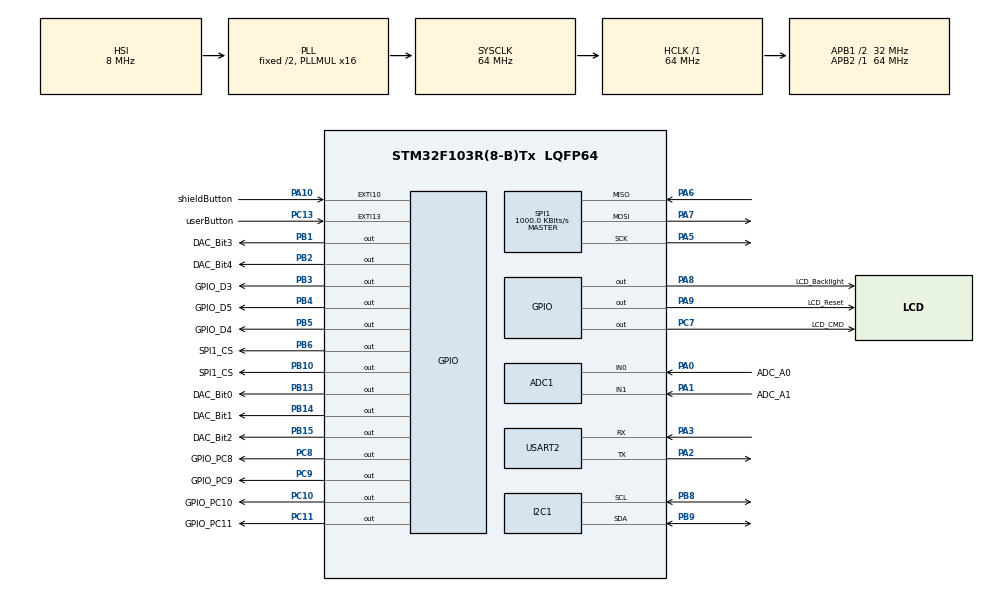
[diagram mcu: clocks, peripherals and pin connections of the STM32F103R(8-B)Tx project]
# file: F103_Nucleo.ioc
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ADC1.Channel-0\#ChannelRegularConversion=ADC_CHANNEL_0
ADC1.Channel-1\#ChannelRegularConversion=ADC_CHANNEL_1
ADC1.ContinuousConvMode=ENABLE
ADC1.NbrOfConversion=2
ADC1.NbrOfConversionFlag=1
ADC1.Rank-0\#ChannelRegularConversion=1
ADC1.Rank-1\#ChannelRegularConversion=2
ADC1.SamplingTime-0\#ChannelRegularConversion=ADC_SAMPLETIME_239CYCLES_5
ADC1.SamplingTime-1\#ChannelRegularConversion=ADC_SAMPLETIME_239CYCLES_5
ADC1.master=1
Dma.ADC1.1.Direction=DMA_PERIPH_TO_MEMORY
Dma.ADC1.1.Instance=DMA1_Channel1
Dma.ADC1.1.MemDataAlignment=DMA_MDATAALIGN_WORD
Dma.ADC1.1.MemInc=DMA_MINC_ENABLE
Dma.ADC1.1.Mode=DMA_CIRCULAR
Dma.ADC1.1.PeriphDataAlignment=DMA_PDATAALIGN_WORD
Dma.ADC1.1.PeriphInc=DMA_PINC_DISABLE
Dma.ADC1.1.Priority=DMA_PRIORITY_LOW
Dma.Request0=USART2_RX
Dma.Request1=ADC1
Dma.USART2_RX.0.Direction=DMA_PERIPH_TO_MEMORY
Dma.USART2_RX.0.Instance=DMA1_Channel6
Dma.USART2_RX.0.MemDataAlignment=DMA_MDATAALIGN_BYTE
Dma.USART2_RX.0.MemInc=DMA_MINC_ENABLE
Dma.USART2_RX.0.Mode=DMA_CIRCULAR
Dma.USART2_RX.0.PeriphDataAlignment=DMA_PDATAALIGN_BYTE
Dma.USART2_RX.0.PeriphInc=DMA_PINC_DISABLE
Dma.USART2_RX.0.Priority=DMA_PRIORITY_HIGH
Mcu.Family=STM32F1
Mcu.Name=STM32F103R(8-B)Tx
Mcu.Package=LQFP64
NVIC.DMA1_Channel1_IRQn=true\:0\:0\:false\:false\:true\:false
NVIC.DMA1_Channel6_IRQn=true\:0\:0\:false\:false\:true\:false
NVIC.EXTI15_10_IRQn=true\:0\:0\:false\:false\:true\:true
NVIC.PriorityGroup=NVIC_PRIORITYGROUP_4
NVIC.TIM1_UP_IRQn=true\:0\:0\:false\:false\:true\:false
NVIC.TIM2_IRQn=true\:0\:0\:false\:false\:true\:true
NVIC.TIM3_IRQn=true\:0\:0\:false\:false\:true\:true
NVIC.TimeBase=TIM1_UP_IRQn
NVIC.TimeBaseIP=TIM1
NVIC.USART2_IRQn=true\:0\:0\:false\:false\:true\:true
PA0-WKUP.GPIO_Label=ADC_A0
PA0-WKUP.Signal=ADCx_IN0
PA1.GPIO_Label=ADC_A1
PA1.Signal=ADCx_IN1
PA10.GPIO_Label=shieldButton
PA10.GPIO_ModeDefaultEXTI=GPIO_MODE_IT_FALLING
PA10.GPIO_PuPd=GPIO_PULLUP
PA10.Signal=GPXTI10
PA13.Mode=Serial_Wire
PA13.Signal=SYS_JTMS-SWDIO
PA14.Mode=Serial_Wire
PA14.Signal=SYS_JTCK-SWCLK
PA2.Mode=Asynchronous
PA2.Signal=USART2_TX
PA3.Mode=Asynchronous
PA3.Signal=USART2_RX
PA5.Mode=Full_Duplex_Master
PA5.Signal=SPI1_SCK
PA6.Mode=Full_Duplex_Master
PA6.Signal=SPI1_MISO
PA7.Mode=Full_Duplex_Master
PA7.Signal=SPI1_MOSI
PA8.GPIO_Label=LCD_Backlight
PA8.Signal=GPIO_Output
PA9.GPIO_Label=LCD_Reset
PA9.Signal=GPIO_Output
PB1.GPIO_Label=DAC_Bit3
PB1.Signal=GPIO_Output
PB10.GPIO_Label=SPI1_CS
PB10.Signal=GPIO_Output
PB13.GPIO_Label=DAC_Bit0
PB13.Signal=GPIO_Output
PB14.GPIO_Label=DAC_Bit1
PB14.Signal=GPIO_Output
PB15.GPIO_Label=DAC_Bit2
PB15.Signal=GPIO_Output
PB2.GPIO_Label=DAC_Bit4
PB2.Signal=GPIO_Output
PB3.GPIO_Label=GPIO_D3
PB3.Signal=GPIO_Output
PB4.GPIO_Label=GPIO_D5
PB4.Signal=GPIO_Output
PB5.GPIO_Label=GPIO_D4
PB5.Signal=GPIO_Output
PB6.GPIO_Label=SPI1_CS
PB6.Signal=GPIO_Output
PB8.Mode=I2C
PB8.Signal=I2C1_SCL
PB9.Mode=I2C
PB9.Signal=I2C1_SDA
PC10.GPIO_Label=GPIO_PC10
PC10.Signal=GPIO_Output
PC11.GPIO_Label=GPIO_PC11
PC11.Signal=GPIO_Output
PC13-TAMPER-RTC.GPIO_Label=userButton
PC13-TAMPER-RTC.GPIO_ModeDefaultEXTI=GPIO_MODE_IT_FALLING
PC13-TAMPER-RTC.GPIO_PuPd=GPIO_PULLUP
PC13-TAMPER-RTC.Signal=GPXTI13
PC7.GPIO_Label=LCD_CMD
PC7.Signal=GPIO_Output
PC8.GPIO_Label=GPIO_PC8
PC8.Signal=GPIO_Output
PC9.GPIO_Label=GPIO_PC9
PC9.Signal=GPIO_Output
ProjectManager.HeapSize=0x200
ProjectManager.StackSize=0x400
ProjectManager.TargetToolchain=TrueSTUDIO
RCC.ADCPresc=RCC_ADCPCLK2_DIV8
RCC.AHBFreq_Value=64000000
RCC.APB1CLKDivider=RCC_HCLK_DIV2
RCC.APB1Freq_Value=32000000
RCC.APB1TimFreq_Value=64000000
RCC.APB2Freq_Value=64000000
RCC.APB2TimFreq_Value=64000000
RCC.HCLKFreq_Value=64000000
RCC.PLLMUL=RCC_PLL_MUL16
RCC.SYSCLKFreq_VALUE=64000000
RCC.SYSCLKSource=RCC_SYSCLKSOURCE_PLLCLK
RCC.USBFreq_Value=64000000
SH.ADCx_IN0.0=ADC1_IN0,IN0
SH.ADCx_IN1.0=ADC1_IN1,IN1
SPI1.BaudRatePrescaler=SPI_BAUDRATEPRESCALER_64
SPI1.CLKPhase=SPI_PHASE_2EDGE
SPI1.CLKPolarity=SPI_POLARITY_HIGH
SPI1.CalculateBaudRate=1000.0 KBits/s
SPI1.Direction=SPI_DIRECTION_2LINES
SPI1.Mode=SPI_MODE_MASTER
SPI1.VirtualType=VM_MASTER
TIM2.CounterMode=TIM_COUNTERMODE_DOWN
TIM2.Period=4999
TIM2.Prescaler=63
TIM3.CounterMode=TIM_COUNTERMODE_DOWN
TIM3.Period=360
TIM3.Prescaler=15
USART2.VirtualMode=VM_ASYNC
VP_SYS_VS_tim1.Mode=TIM1
VP_TIM2_VS_ClockSourceINT.Mode=Internal
VP_TIM3_VS_ClockSourceINT.Mode=Internal
board=F103_Nucleo

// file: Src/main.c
/**
  ******************************************************************************
  * File Name          : main.c
  * Description        : Main program body
  ******************************************************************************
  ** This notice applies to any and all portions of this file
  * that are not between comment pairs USER CODE BEGIN and
  * USER CODE END. Other portions of this file, whether
  * inserted by the user or by software development tools
  * are owned by their respective copyright owners.
  *
  * COPYRIGHT(c) 2018 STMicroelectronics
  *
  * Redistribution and use in source and binary forms, with or without modification,
  * are permitted provided that the following conditions are met:
  *   1. Redistributions of source code must retain the above copyright notice,
  *      this list of conditions and the following disclaimer.
  *   2. Redistributions in binary form must reproduce the above copyright notice,
  *      this list of conditions and the following disclaimer in the documentation
  *      and/or other materials provided with the distribution.
  *   3. Neither the name of STMicroelectronics nor the names of its contributors
  *      may be used to endorse or promote products derived from this software
  *      without specific prior written permission.
  *
  * THIS SOFTWARE IS PROVIDED BY THE COPYRIGHT HOLDERS AND CONTRIBUTORS "AS IS"
  * AND ANY EXPRESS OR IMPLIED WARRANTIES, INCLUDING, BUT NOT LIMITED TO, THE
  * IMPLIED WARRANTIES OF MERCHANTABILITY AND FITNESS FOR A PARTICULAR PURPOSE ARE
  * DISCLAIMED. IN NO EVENT SHALL THE COPYRIGHT HOLDER OR CONTRIBUTORS BE LIABLE
  * FOR ANY DIRECT, INDIRECT, INCIDENTAL, SPECIAL, EXEMPLARY, OR CONSEQUENTIAL
  * DAMAGES (INCLUDING, BUT NOT LIMITED TO, PROCUREMENT OF SUBSTITUTE GOODS OR
  * SERVICES; LOSS OF USE, DATA, OR PROFITS; OR BUSINESS INTERRUPTION) HOWEVER
  * CAUSED AND ON ANY THEORY OF LIABILITY, WHETHER IN CONTRACT, STRICT LIABILITY,
  * OR TORT (INCLUDING NEGLIGENCE OR OTHERWISE) ARISING IN ANY WAY OUT OF THE USE
  * OF THIS SOFTWARE, EVEN IF ADVISED OF THE POSSIBILITY OF SUCH DAMAGE.
  *
  ******************************************************************************
  */
#include "main.h"
#include "stm32f1xx_hal.h"
#include "adc.h"
#include "dma.h"
#include "i2c.h"
#include "spi.h"
#include "tim.h"
#include "usart.h"
#include "gpio.h"

/* USER CODE BEGIN Includes */

#include "lcd_12864_dfrobot.h"
#include "sprite.h"
#include "Sound.h"
#include "joystick.h"
#include "bitmap.h"

#include "eeprom.h"
#include "score.h"

/*
Space Invaders!!!!
6/27/18
This version of SpaceInvaders is built on the STM32F103 Nucleo board
and the 128x64 LCD Shield from DFRobot.  The sound is generated using a
simple binary weighted 5-bit DAC and an 11khz timer.

The following main.c program is largly auto generated using the
STMCube tool.  F103_Nucleo project folder for STCube project
pinouts.

*/

/* USER CODE END Includes */

/* USER CODE BEGIN PV */
/* Private variables ---------------------------------------------------------*/

/* USER CODE END PV */

void SystemClock_Config(void);

/* USER CODE BEGIN PFP */
/* Private function prototypes -----------------------------------------------*/

/* USER CODE END PFP */

/* USER CODE BEGIN 0 */

uint32_t gCounter = 0x00;

/* USER CODE END 0 */

int main(void)
{

	/* MCU Configuration----------------------------------------------------------*/

	/* Reset of all peripherals, Initializes the Flash interface and the Systick. */
	HAL_Init();

	/* Configure the system clock */
	SystemClock_Config();

	/* Initialize all configured peripherals */
	MX_GPIO_Init();
	MX_DMA_Init();
	MX_ADC1_Init();
	MX_SPI1_Init();
	MX_TIM2_Init();
	MX_TIM3_Init();
	MX_USART2_UART_Init();
	MX_I2C1_Init();

	/* USER CODE BEGIN 2 */

	/////////////////////////////////////////////////////////
	/////////////////////////////////////////////////////////
	LCD_Config();					//config 128x64 display
	Joystick_Config();				//DMA stream for ADC - A1
	Sound_Init();					//timers and sound
	Sprite_Init();					//game init
	LCD_BacklightOn();				//backlight

	//wait a bit
	HAL_Delay(100);
	EEPROM_init();					//perform simple write/readback

	/////////////////////////////////////////////////
	//Clear high score. comment out if not needed
//	int result = Score_Init();
//	if (result < 0)
//		while (1){};
	//////////////////////////////////////////////////

	Sprite_SetGameOverFlag();		//start with game over

	HAL_Delay(500);

	/* USER CODE END 2 */

	/* Infinite loop */
	while (1)
	{

		/* USER CODE BEGIN 3 */

		///////////////////////////////////////////////////
		//Game Over??
        if (Sprite_GetGameOverFlag() == 1)
        {
	        Sound_Play_GameOver();

			//evaluate the high score and current score
			if (Sprite_GetGameScore() > Score_GetHighScore())
			{
				while(Sprite_GetGameOverFlag() == 1)
				{
					Score_DisplayNewHighScore(Sprite_GetGameScore(), Sprite_GetGameLevel());
					HAL_Delay(1000);
					LCD_Clear(0x00);
					HAL_Delay(1000);
				}

				//update the high score and level here
				Score_SetHighScore(Sprite_GetGameScore());
				Score_SetMaxLevel(Sprite_GetGameLevel());

				Sprite_SetGameOverFlag();
			}

			HAL_Delay(2000);
        }

        while (Sprite_GetGameOverFlag() == 1)
        {
			uint8_t buffer[SCORE_PLAYER_NAME_SIZE] = {0x00};
			uint8_t buffer2[16] = {0x00};
			uint16_t highScore = Score_GetHighScore();
			uint8_t level = Score_GetMaxLevel();
			uint8_t len = Score_GetPlayerName(buffer);

			LCD_DrawStringKernLength(1, 3, buffer, len);

			int n = sprintf((char*)buffer2, "Score:%d", highScore);
			LCD_DrawStringKernLength(2, 3, buffer2, n);

			n = sprintf((char*)buffer2, "Level:%d", level);
			LCD_DrawStringKernLength(3, 3, buffer2, n);

	        LCD_DrawStringKern(5, 3, " Press Button");

			HAL_Delay(1000);
			LCD_Clear(0x00);
//	        LCD_DrawStringKern(2, 3, "                ");
			HAL_Delay(1000);

	        Sprite_Init();                  //reset and clear all flags
        }

        ///////////////////////////////////////////
        //launch any new missiles from player?
        if (Sprite_GetPlayerMissileLaunchFlag() == 1)
        {
	        Sprite_ClearPlayerMissileLaunchFlag();  //clear flag
	        Sprite_Player_Missle_Launch();          //launch missile
        }

        ////////////////////////////////////////////
        //launch any new missiles from enemy
        uint16_t interval = 30 - (2 * Sprite_GetGameLevel());
        if (interval < 5)
			interval = 5;

        if (!(gCounter % interval))
        {
	        Sprite_Enemy_Missle_Launch();
        }

        ////////////////////////////////////////////////
        //launch drone - every 20 game cycles
        if (!(gCounter % 20))
        {
        	Sprite_Drone_Launch();
        }

        Sprite_Player_Move();		//move player
        Sprite_Enemy_Move();		//move enemy
        Sprite_Missle_Move();		//move missle
        Sprite_Drone_Move();		//move the drone
        Sprite_UpdateDisplay();		//update the display

        gCounter++;

        HAL_Delay(200);

	}

  /* USER CODE END 3 */

}

/** System Clock Configuration
*/
void SystemClock_Config(void)
{

  RCC_OscInitTypeDef RCC_OscInitStruct;
  RCC_ClkInitTypeDef RCC_ClkInitStruct;
  RCC_PeriphCLKInitTypeDef PeriphClkInit;

    /**Initializes the CPU, AHB and APB busses clocks
    */
  RCC_OscInitStruct.OscillatorType = RCC_OSCILLATORTYPE_HSI;
  RCC_OscInitStruct.HSIState = RCC_HSI_ON;
  RCC_OscInitStruct.HSICalibrationValue = 16;
  RCC_OscInitStruct.PLL.PLLState = RCC_PLL_ON;
  RCC_OscInitStruct.PLL.PLLSource = RCC_PLLSOURCE_HSI_DIV2;
  RCC_OscInitStruct.PLL.PLLMUL = RCC_PLL_MUL16;
  if (HAL_RCC_OscConfig(&RCC_OscInitStruct) != HAL_OK)
  {
    _Error_Handler(__FILE__, __LINE__);
  }

    /**Initializes the CPU, AHB and APB busses clocks
    */
  RCC_ClkInitStruct.ClockType = RCC_CLOCKTYPE_HCLK|RCC_CLOCKTYPE_SYSCLK
                              |RCC_CLOCKTYPE_PCLK1|RCC_CLOCKTYPE_PCLK2;
  RCC_ClkInitStruct.SYSCLKSource = RCC_SYSCLKSOURCE_PLLCLK;
  RCC_ClkInitStruct.AHBCLKDivider = RCC_SYSCLK_DIV1;
  RCC_ClkInitStruct.APB1CLKDivider = RCC_HCLK_DIV2;
  RCC_ClkInitStruct.APB2CLKDivider = RCC_HCLK_DIV1;

  if (HAL_RCC_ClockConfig(&RCC_ClkInitStruct, FLASH_LATENCY_2) != HAL_OK)
  {
    _Error_Handler(__FILE__, __LINE__);
  }

  PeriphClkInit.PeriphClockSelection = RCC_PERIPHCLK_ADC;
  PeriphClkInit.AdcClockSelection = RCC_ADCPCLK2_DIV8;
  if (HAL_RCCEx_PeriphCLKConfig(&PeriphClkInit) != HAL_OK)
  {
    _Error_Handler(__FILE__, __LINE__);
  }

    /**Configure the Systick interrupt time
    */
  HAL_SYSTICK_Config(HAL_RCC_GetHCLKFreq()/1000);

    /**Configure the Systick
    */
  HAL_SYSTICK_CLKSourceConfig(SYSTICK_CLKSOURCE_HCLK);

  /* SysTick_IRQn interrupt configuration */
  HAL_NVIC_SetPriority(SysTick_IRQn, 0, 0);
}

void HAL_TIM_PeriodElapsedCallback(TIM_HandleTypeDef *htim)
{
  if (htim->Instance == TIM1) {
    HAL_IncTick();
  }
/* USER CODE BEGIN Callback 1 */

  ////////////////////////////////////////////
  //Timer TIM2 - Not Used For Now
  if (htim->Instance == TIM2)
  {

  }

  //////////////////////////////////////
  //Timer3 - 11khz timer
  //Sound timer.  Runs when sound is playing.
  //Timer stops when sound array is done.
  //See sound.h.  NOTE: in tim.c, check the prescale
  //and reload values as 15 and 362 to get 11khz.
  if (htim->Instance == TIM3)
  {
	  Sound_InterruptHandler();      //main
  }

/* USER CODE END Callback 1 */
}

void _Error_Handler(char * file, int line)
{
  while(1)
  {
  }
}

/************************ (C) COPYRIGHT STMicroelectronics *****END OF FILE****/
